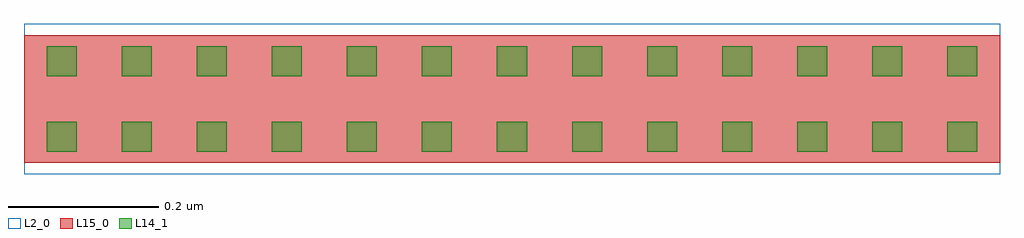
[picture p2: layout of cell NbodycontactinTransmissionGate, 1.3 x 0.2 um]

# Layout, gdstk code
import gdstk
lib = gdstk.Library(unit=1e-6, precision=1e-09)
def R(c, l, rs):  # rectangles x0, y0, x1, y1
    for r in rs: c.add(gdstk.rectangle(r[:2], r[2:], *l))
def A(c, l, x, y, w, h, nx, ny, dx, dy):  # array of equal rectangles
    R(c, l, [(x+i*dx, y+j*dy, x+i*dx+w, y+j*dy+h) for i in range(nx) for j in range(ny)])
L2_0 = (2, 0)
L14_1 = (14, 1)
L15_0 = (15, 0)

nbodycontactintransmissi = lib.new_cell('NbodycontactinTransmissionGate')
R(nbodycontactintransmissi, L2_0, [(-0.65,-0.1,0.65,0.1)])
A(nbodycontactintransmissi, L14_1, -0.62, -0.07, 0.04, 0.04, 13, 2, 0.1, 0.1)
R(nbodycontactintransmissi, L15_0, [(-0.65,-0.085,0.65,0.085)])

lib.write_gds('NbodycontactinTransmissionGate.gds')
